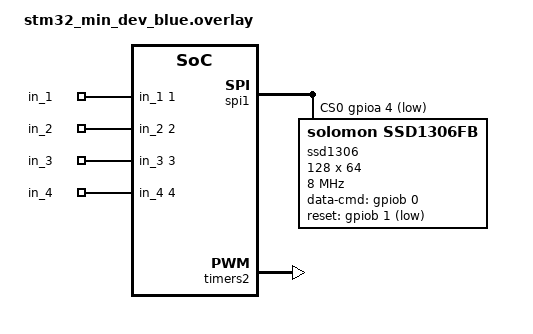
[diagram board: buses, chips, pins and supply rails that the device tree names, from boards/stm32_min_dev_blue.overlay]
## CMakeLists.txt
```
cmake_minimum_required(VERSION 3.20.0)
set(BOARD stm32_min_dev@blue)
find_package(Zephyr)
project(EchoCar)

include_directories(BEFORE src/)

target_sources(app PRIVATE
        src/main.c

        src/driver/display.c
        src/driver/motor.c
        src/driver/usart.c

        src/infra/car_handler.c
)
```

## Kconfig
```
menu "EchoCar"

    menu "Threads"
        menu "usart"
            config USART_THREAD_STACK_SIZE
                int "Size of stack for usart thread."
                default 512

            config USART_THREAD_PRIORITY
                int "Priority of usart thread."
                default 1

        endmenu

        menu "Car Handler"
            config CAR_HANDLER_THREAD_STACK_SIZE
                int "Size of stack for car handler thread."
                default 512

            config CAR_HANDLER_THREAD_PRIORITY
                int "Priority of car handler thread."
                default 2

        endmenu

    endmenu

    menu "Display"
        config DISPLAY_WIDTH
            int "Size of the display width."
            default 128

        config DISPLAY_HEIGHT
            int "Size of the display height."
            default 64

        menu "Font"
            config FONT_CHAR_WIDTH
                int "Size of the font char width."
                default 8

            config FONT_CHAR_HEIGHT
                int "Size of the font char height."
                default 8

        endmenu

    endmenu

    menu "Motors"
        menu "Input 1"
            config IN_1_MIN_PULSE
                int "Minimum PWM pulse for input 1."
                default 0

            config IN_1_MAX_PULSE
                int "Maximum PWM pulse for input 1."
                default 50000

        endmenu

        menu "Input 2"
            config IN_2_MIN_PULSE
                int "Minimum PWM pulse for input 2."
                default 0

            config IN_2_MAX_PULSE
                int "Maximum PWM pulse for input 2."
                default 50000

        endmenu

        menu "Input 3"
            config IN_3_MIN_PULSE
                int "Minimum PWM pulse for input 3."
                default 0

            config IN_3_MAX_PULSE
                int "Maximum PWM pulse for input 3."
                default 50000

        endmenu

        menu "Input 4"
            config IN_4_MIN_PULSE
                int "Minimum PWM pulse for input 4."
                default 0

            config IN_4_MAX_PULSE
                int "Maximum PWM pulse for input 4."
                default 50000

        endmenu

    endmenu

endmenu

source "Kconfig.zephyr"
```

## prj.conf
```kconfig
CONFIG_DISPLAY=y
CONFIG_SSD1306=y
CONFIG_SSD1306_DEFAULT_CONTRAST=255
CONFIG_LOG=y

CONFIG_PWM=y
CONFIG_CONSOLE=n
CONFIG_UART_CONSOLE=n
```

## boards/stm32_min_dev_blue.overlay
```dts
/ {
	zephyr,user {
		pwm-names = "in_1", "in_2", "in_3", "in_4";
		pwms = <&in_1 1 PWM_KHZ(20) PWM_POLARITY_NORMAL>,
			   <&in_2 2 PWM_KHZ(20) PWM_POLARITY_NORMAL>,
			   <&in_3 3 PWM_KHZ(20) PWM_POLARITY_NORMAL>,
			   <&in_4 4 PWM_KHZ(20) PWM_POLARITY_NORMAL>;
	};

	chosen {
		zephyr,console = &usart3;
		zephyr,shell-uart = &usart3;
		zephyr,osdp-uart = &usart3;
	};
};

&spi1 {
	status = "okay";
	cs-gpios = <&gpioa 4 GPIO_ACTIVE_LOW>; /* CS Pin A4 */

	ssd1306: ssd1306@0 {
		compatible = "solomon,ssd1306fb";
		reg = <0>;

		data-cmd-gpios = <&gpiob 0 GPIO_ACTIVE_HIGH>; /* DC Pin B0 */
		segment-offset = <0>;
		page-offset = <0>;
		display-offset = <0>;
		multiplex-ratio = <63>;
		segment-remap;
		com-invdir;
		prechargep = <0x22>;
		reset-gpios = <&gpiob 1 GPIO_ACTIVE_LOW>; /* RES Pin B1 */
		height = <64>;
		width = <128>;
		spi-max-frequency = <8000000>;
	};
};

&timers2 {
	status = "okay";

	in_1: pwm1 {
		status = "okay";
		#pwm-cells = <3>;
		compatible = "st,stm32-pwm";
		pinctrl-0 = <&tim2_ch1_pwm_out_pa0>;
		pinctrl-names = "default";
	};

	in_2: pwm2 {
		status = "okay";
		#pwm-cells = <3>;
		compatible = "st,stm32-pwm";
		pinctrl-0 = <&tim2_ch2_pwm_out_pa1>;
		pinctrl-names = "default";
	};

	in_3: pwm3 {
		status = "okay";
		#pwm-cells = <3>;
		compatible = "st,stm32-pwm";
		pinctrl-0 = <&tim2_ch3_pwm_out_pa2>;
		pinctrl-names = "default";
	};

	in_4: pwm4 {
		status = "okay";
		#pwm-cells = <3>;
		compatible = "st,stm32-pwm";
		pinctrl-0 = <&tim2_ch4_pwm_out_pa3>;
		pinctrl-names = "default";
	};

};

&usart2 {
	status = "disabled";
};
```

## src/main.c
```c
/**
 * @file main.c
 * @author victorhugosampaio
 * @brief System main.
 * @version 0.1
 * @date 01-02-2025
 *
 * @copyright Copyright (c) 2025
 *
 */

#include "driver/display.h"
#include "driver/motor.h"
#include "driver/usart.h"

int main(void)
{
    display_init();
    motor_init();
    usart_init();

    return 0;
}
```
